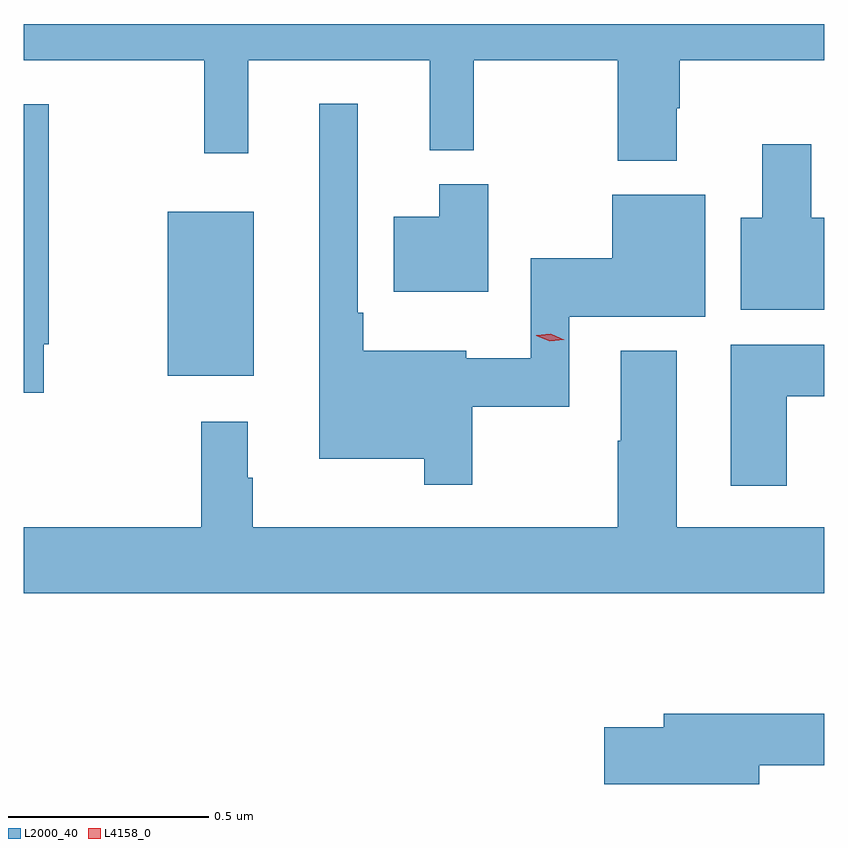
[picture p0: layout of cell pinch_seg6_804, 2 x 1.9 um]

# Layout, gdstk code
import gdstk
lib = gdstk.Library(unit=1e-6, precision=1e-09)
def R(c, l, rs):  # rectangles x0, y0, x1, y1
    for r in rs: c.add(gdstk.rectangle(r[:2], r[2:], *l))
def P(c, l, *ps):  # polygons
    for p in ps: c.add(gdstk.Polygon(p, *l))
L2000_40 = (2000, 40)
L4158_0 = (4158, 0)

pinch_seg6_804 = lib.new_cell('pinch_seg6_804')
R(pinch_seg6_804, L2000_40, [(327.86,978.515,328.075,978.925)])
P(pinch_seg6_804, L2000_40, [(327.5,979.304),(327.951,979.304),(327.951,979.071),(328.061,979.071),(328.061,979.304),(328.514,979.304),(328.514,979.079),(328.624,979.079),(328.624,979.304),(328.984,979.304),(328.984,979.052),(329.131,979.052),(329.131,979.184),(329.139,979.184),(329.139,979.304),(329.5,979.304),(329.5,979.394),(327.5,979.394)],
  [(328.621,978.438),(328.863,978.438),(328.863,978.662),(329.203,978.662),(329.203,978.967),(328.97,978.967),(328.97,978.809),(328.767,978.809),(328.767,978.559),(328.605,978.559),(328.605,978.577),(328.348,978.577),(328.348,978.673),(328.335,978.673),(328.335,979.195),(328.238,979.195),(328.238,978.308),(328.5,978.308),(328.5,978.243),(328.621,978.243)],
  [(327.55,978.594),(327.562,978.594),(327.562,979.194),(327.5,979.194),(327.5,978.473),(327.55,978.473)],
  [(329.5,978.91),(329.467,978.91),(329.467,979.093),(329.345,979.093),(329.345,978.91),(329.291,978.91),(329.291,978.68),(329.5,978.68)],
  [(328.66,978.994),(328.538,978.994),(328.538,978.913),(328.424,978.913),(328.424,978.725),(328.66,978.725)],
  [(329.407,978.464),(329.5,978.464),(329.5,978.592),(329.267,978.592),(329.267,978.24),(329.407,978.24)],
  [(329.5,978.136),(329.131,978.136),(329.131,978.577),(328.991,978.577),(328.991,978.353),(328.984,978.353),(328.984,978.136),(328.072,978.136),(328.072,978.26),(328.06,978.26),(328.06,978.4),(327.943,978.4),(327.943,978.136),(327.5,978.136),(327.5,977.972),(329.5,977.972)],
  [(329.338,977.542),(329.5,977.542),(329.5,977.671),(329.099,977.671),(329.099,977.637),(328.95,977.637),(328.95,977.495),(329.338,977.495)])
P(pinch_seg6_804, L4158_0, [(328.814,978.601),(328.78,978.615),(328.78,978.616),(328.78,978.616),(328.817,978.62),(328.851,978.605),(328.851,978.605),(328.851,978.605)])

lib.write_gds('pinch_seg6_804.gds')
